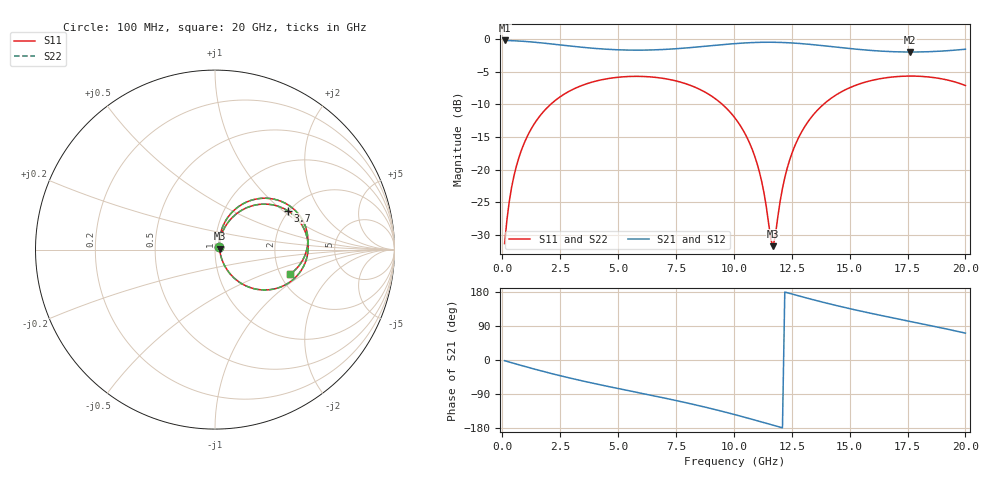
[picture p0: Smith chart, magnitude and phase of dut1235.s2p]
! Touchstone file exported from HFSS 2026.1.0
!  File:  C:/ffzhzh/LocalFiles/Ansys_Project_Files/temp_train_TSV_RDL_1235_1783323093_38704.aedt
!  Generated:  03:44:45 PM Jul  6, 2026
!  Design:  TSV_RDL
!  Project:  temp_train_TSV_RDL_1235_1783323093_38704
! Variables:
!  h_bsmrdl = 5.58um
!  h_ox = 20um
!  h_rdl = 5um
!  h_sub = 89.54um
!  h_tmrdl = 5.82um
!  h_tsv = 89.54um
!  h_via = 3um
!  l_bsmrdl = 550.59um
!  l_sub = 4547.36um
!  l_tmrdl = 604.36um
!  m_sub = 200um
!  pitch = 46.5um
!  r_tsv = 14.95um
!  s_tmrdl = 10um
!  w_bsmrdl = 13.54um
!  w_sub = 500um
!  w_tmrdl = 12.51um
!  x_tsv_center1 = 610.615um
!  x_tsv_center2 = 1174.745um
!  x_tsv_center3 = 1791.615um
!  x_tsv_center4 = 2355.745um
!  x_tsv_center5 = 2972.615um
!  x_tsv_center6 = 3536.745um
# GHz S MA R 50.000000
! Terminal data exported
! Port[1] = TM_RDL1_1_T1
! Port[2] = TM_RDL5_1_T1
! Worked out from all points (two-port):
!   200 points, 100 MHz to 20 GHz, reference 50 ohm
!   highest |S21| = -0.18 dB at 100 MHz (marker M1); lowest = -2.0 dB at 17.6 GHz (marker M2)
!   |S21| within 3 dB of the highest: start of sweep to end of sweep
!   lowest |S11| = -31.8 dB at 11.7 GHz (marker M3), VSWR 1.05, Z = 52.6 + j0.576 ohm
!   |S11| at or under -10 dB: start of sweep to 2.086 GHz; 9.504 GHz to 13.87 GHz (4.366 GHz wide, 37.4 % of centre)
!   |S22| runs from -31.9 to -5.6 dB; largest |S21 - S12| = 1.7e-14
!   S11 on the Smith chart (normalised r, x): 100 MHz: 1.04, +0.04; 3.7 GHz: 1.96, +1.08; 20 GHz: 2.27, -0.76
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0.1  0.02698 39.6  0.9796 -1.8  0.9796 -1.8  0.02698 39.6
! Gamma 0 0 0 0
! Port Impedance 50 0 50 0
0.3  0.05663 62.5  0.9773 -5.4  0.9773 -5.4  0.05663 62.5
0.5  0.08869 66.6  0.9741 -8.9  0.9741 -8.9  0.08869 66.6
1.1  0.1829 63.3  0.9594 -19.2  0.9594 -19.2  0.1829 63.3
2.1  0.3179 49.9  0.922 -35.4  0.922 -35.4  0.3179 49.9
3.5  0.4462 30.9  0.8667 -55.7  0.8667 -55.7  0.4462 30.9
3.7  0.4589 28.3  0.8601 -58.4  0.8601 -58.4  0.4589 28.3
5.3  0.5163 8.6  0.8273 -79.0  0.8273 -79.0  0.5163 8.6
6.8  0.5055 -9.3  0.8325 -97.8  0.8325 -97.8  0.5055 -9.4
8.7  0.3979 -33.3  0.8819 -123.5  0.8819 -123.5  0.3979 -33.4
10.1  0.2417 -51.8  0.928 -145.1  0.928 -145.1  0.2417 -51.9
11  0.1116 -59.2  0.9465 -160.1  0.9465 -160.1  0.1115 -59.4
11.3  0.06643 -54.8  0.949 -165.2  0.949 -165.2  0.06628 -55.1
11.6  0.02883 -19.7  0.9493 -170.4  0.9493 -170.4  0.02847 -20.2
11.7  0.02577 12.3  0.949 -172.1  0.949 -172.1  0.02537 12.3
12.1  0.07163 68.3  0.9451 -179.0  0.9451 -179.0  0.07147 68.6
12.4  0.1168 71.6  0.9397 175.9  0.9397 175.9  0.1167 71.8
13.4  0.2589 62.7  0.9102 159.5  0.9102 159.5  0.2588 62.7
14.9  0.4165 43.2  0.853 137.0  0.853 137.0  0.4165 43.2
16.7  0.51 21.2  0.8053 113.2  0.8053 113.2  0.51 21.2
17.6  0.5219 10.7  0.7984 102.0  0.7984 102.0  0.5219 10.7
20  0.4417 -17.8  0.8385 70.9  0.8385 70.9  0.4417 -17.8
